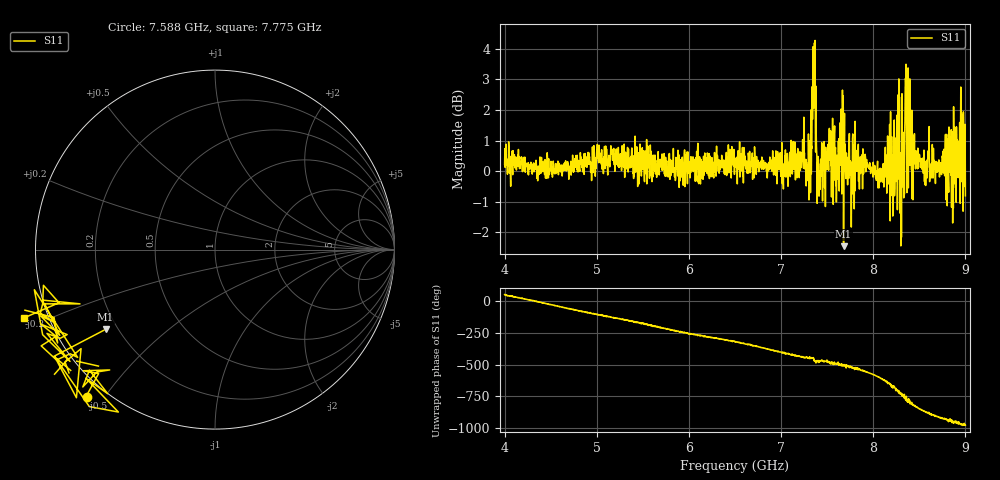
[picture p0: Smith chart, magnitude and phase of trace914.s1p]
! Created with skrf 1.8.0 (http://scikit-rf.org).
# Hz S RI R 50.0
!freq ReS11 ImS11
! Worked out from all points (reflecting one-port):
!   1601 points, 4 GHz to 9 GHz, reference 50 ohm
!   lowest |S11| = -2.5 dB at 7.678 GHz (marker M1), VSWR 7.14, Z = 7.73 - j15.9 ohm
!   phase of S11 starts at 54 deg and turns -1035 deg over the sweep
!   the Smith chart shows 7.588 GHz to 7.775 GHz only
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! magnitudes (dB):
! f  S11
! 4 GHz  0.2
! 4.625 GHz  -0.2
! 5.25 GHz  0.2
! 5.875 GHz  0.0
! 6.5 GHz  0.3
! 7.038 GHz  0.2
! 7.125 GHz  0.6
! 7.294 GHz  -0.3
! 7.356 GHz  3.3
! 7.412 GHz  -0.8
! 7.534 GHz  0.4
! 7.609 GHz  -0.3
! 7.65 GHz  2.0
! 7.678 GHz  -2.5
! 7.75 GHz  0.3
! 8.075 GHz  0.1
! 8.178 GHz  1.5
! 8.228 GHz  1.7
! 8.262 GHz  -1.3
! 8.312 GHz  2.5
! 8.334 GHz  1.3
! 8.375 GHz  0.4
! 8.447 GHz  1.2
! 8.697 GHz  0.0
! 8.834 GHz  1.1
! 8.875 GHz  0.6
! 8.972 GHz  0.5
! 9 GHz  -0.8
